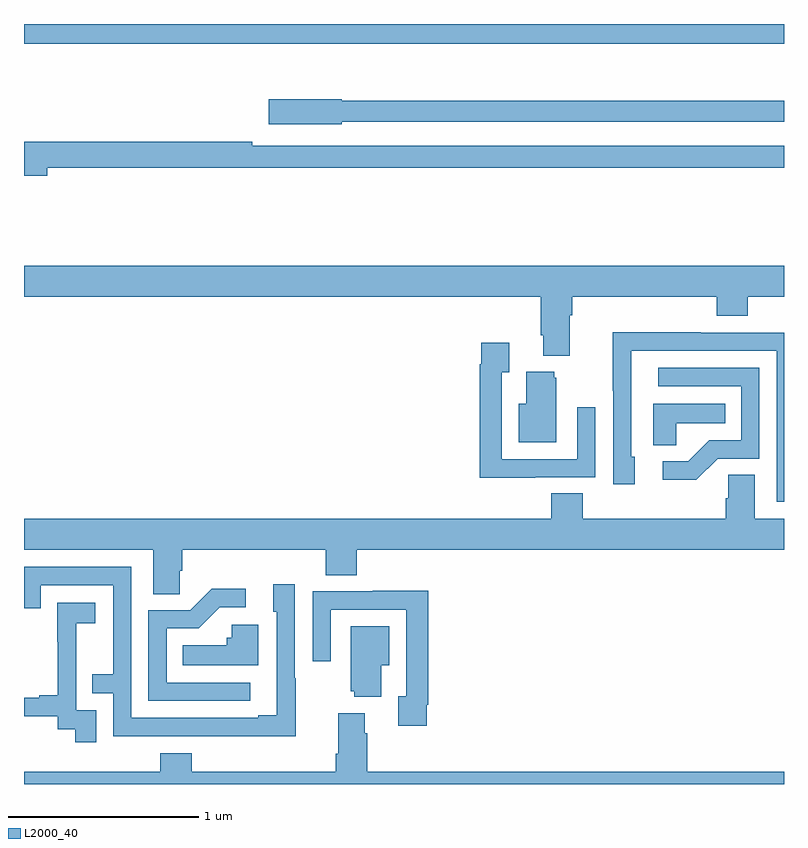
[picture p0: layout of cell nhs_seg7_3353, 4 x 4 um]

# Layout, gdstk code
import gdstk
lib = gdstk.Library(unit=1e-6, precision=1e-09)
def R(c, l, rs):  # rectangles x0, y0, x1, y1
    for r in rs: c.add(gdstk.rectangle(r[:2], r[2:], *l))
def P(c, l, *ps):  # polygons
    for p in ps: c.add(gdstk.Polygon(p, *l))
L2000_40 = (2000, 40)

nhs_seg7_3353 = lib.new_cell('nhs_seg7_3353')
R(nhs_seg7_3353, L2000_40, [(323,1053.896,327,1054)])
P(nhs_seg7_3353, L2000_40, [(324.672,1053.486),(327,1053.486),(327,1053.595),(324.672,1053.595),(324.672,1053.603),(324.288,1053.603),(324.288,1053.473),(324.672,1053.473)],
  [(323.122,1053.244),(327,1053.244),(327,1053.36),(324.2,1053.36),(324.2,1053.38),(323,1053.38),(323,1053.202),(323.122,1053.202)],
  [(325.873,1052.468),(325.886,1052.468),(325.886,1052.564),(326.645,1052.564),(326.645,1052.465),(326.81,1052.465),(326.81,1052.564),(327,1052.564),(327,1052.728),(323,1052.728),(323,1052.564),(325.721,1052.564),(325.721,1052.362),(325.733,1052.362),(325.733,1052.255),(325.873,1052.255)],
  [(327,1052.376),(326.561,1052.376),(326.561,1052.378),(326.098,1052.378),(326.098,1052.071),(326.1,1052.071),(326.1,1051.578),(326.215,1051.578),(326.215,1051.722),(326.196,1051.722),(326.196,1052.28),(326.961,1052.28),(326.961,1051.485),(327,1051.485)],
  [(325.691,1051.614),(326.007,1051.614),(326.007,1051.984),(325.911,1051.984),(325.911,1051.71),(325.515,1051.71),(325.515,1052.167),(325.555,1052.167),(325.555,1052.323),(325.407,1052.323),(325.407,1052.21),(325.399,1052.21),(325.399,1051.613),(325.691,1051.613)],
  [(326.652,1051.713),(326.871,1051.713),(326.871,1052.19),(326.337,1052.19),(326.337,1052.094),(326.775,1052.094),(326.775,1051.809),(326.606,1051.809),(326.495,1051.698),(326.361,1051.698),(326.361,1051.601),(326.539,1051.601)],
  [(325.801,1052.139),(325.79,1052.139),(325.79,1052.17),(325.643,1052.17),(325.643,1052.002),(325.604,1052.002),(325.604,1051.799),(325.801,1051.799)],
  [(326.433,1051.898),(326.69,1051.898),(326.69,1052.002),(326.312,1052.002),(326.312,1051.783),(326.433,1051.783)],
  [(323.82,1051.123),(323.834,1051.123),(323.834,1051.232),(324.587,1051.232),(324.587,1051.099),(324.752,1051.099),(324.752,1051.232),(327,1051.232),(327,1051.396),(326.845,1051.396),(326.845,1051.628),(326.706,1051.628),(326.706,1051.505),(326.693,1051.505),(326.693,1051.396),(325.94,1051.396),(325.94,1051.529),(325.775,1051.529),(325.775,1051.396),(323,1051.396),(323,1051.232),(323.681,1051.232),(323.681,1051),(323.82,1051)],
  [(324.429,1050.557),(324.426,1050.557),(324.426,1051.051),(324.311,1051.051),(324.311,1050.906),(324.33,1050.906),(324.33,1050.557),(324.329,1050.557),(324.329,1050.361),(324.233,1050.361),(324.233,1050.348),(323.565,1050.348),(323.565,1051.143),(323,1051.143),(323,1050.924),(323.088,1050.924),(323.088,1051.047),(323.469,1051.047),(323.469,1050.578),(323.359,1050.578),(323.359,1050.477),(323.469,1050.477),(323.469,1050.252),(323.965,1050.252),(323.965,1050.251),(324.429,1050.251)],
  [(324.19,1050.534),(323.751,1050.534),(323.751,1050.819),(323.92,1050.819),(324.031,1050.93),(324.166,1050.93),(324.166,1051.028),(323.987,1051.028),(323.874,1050.915),(323.655,1050.915),(323.655,1050.438),(324.19,1050.438)],
  [(325.12,1050.418),(325.127,1050.418),(325.127,1051.016),(324.835,1051.016),(324.835,1051.014),(324.519,1051.014),(324.519,1050.645),(324.615,1050.645),(324.615,1050.918),(325.011,1050.918),(325.011,1050.462),(324.971,1050.462),(324.971,1050.306),(325.12,1050.306)],
  [(323.379,1050.387),(323.274,1050.387),(323.274,1050.617),(323.276,1050.617),(323.276,1050.845),(323.374,1050.845),(323.374,1050.955),(323.176,1050.955),(323.176,1050.749),(323.177,1050.749),(323.177,1050.466),(323.081,1050.466),(323.081,1050.453),(323,1050.453),(323,1050.357),(323.178,1050.357),(323.178,1050.289),(323.271,1050.289),(323.271,1050.219),(323.379,1050.219)],
  [(324.232,1050.838),(324.093,1050.838),(324.093,1050.771),(324.067,1050.771),(324.067,1050.73),(323.836,1050.73),(323.836,1050.626),(324.232,1050.626)],
  [(324.88,1050.626),(324.922,1050.626),(324.922,1050.829),(324.719,1050.829),(324.719,1050.489),(324.737,1050.489),(324.737,1050.458),(324.88,1050.458)],
  [(327,1050.064),(324.806,1050.064),(324.806,1050.266),(324.793,1050.266),(324.793,1050.373),(324.653,1050.373),(324.653,1050.16),(324.641,1050.16),(324.641,1050.064),(323.882,1050.064),(323.882,1050.163),(323.717,1050.163),(323.717,1050.064),(323,1050.064),(323,1050),(327,1050)])

lib.write_gds('nhs_seg7_3353.gds')
